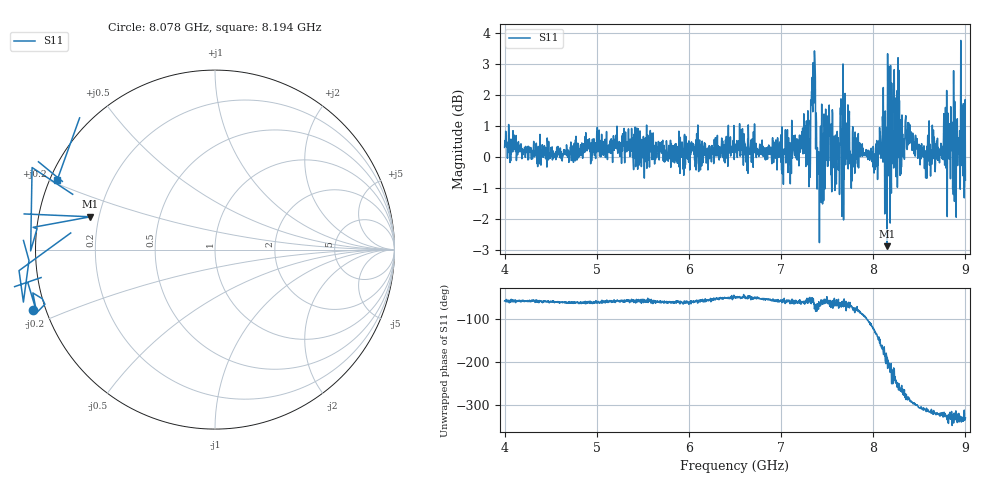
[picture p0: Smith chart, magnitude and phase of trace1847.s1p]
! Created with skrf 1.8.0 (http://scikit-rf.org).
# Hz S RI R 50.0
!freq ReS11 ImS11
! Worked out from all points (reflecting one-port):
!   1601 points, 4 GHz to 9 GHz, reference 50 ohm
!   lowest |S11| = -2.9 dB at 8.15 GHz (marker M1), VSWR 6.08, Z = 8.35 + j6.3 ohm
!   phase of S11 starts at -57 deg and turns -274 deg over the sweep
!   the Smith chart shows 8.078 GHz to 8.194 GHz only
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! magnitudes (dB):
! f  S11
! 4 GHz  0.3
! 4.625 GHz  -0.1
! 5.25 GHz  0.0
! 5.875 GHz  -0.2
! 6.5 GHz  0.3
! 7.125 GHz  0.3
! 7.241 GHz  0.2
! 7.294 GHz  -0.2
! 7.328 GHz  1.7
! 7.347 GHz  3.0
! 7.412 GHz  -0.2
! 7.509 GHz  -0.2
! 7.609 GHz  0.8
! 7.669 GHz  0.1
! 7.75 GHz  0.2
! 8.031 GHz  0.4
! 8.088 GHz  0.0
! 8.15 GHz  -2.9
! 8.178 GHz  2.4
! 8.209 GHz  -0.2
! 8.253 GHz  1.1
! 8.312 GHz  1.4
! 8.375 GHz  0.9
! 8.556 GHz  -0.4
! 8.834 GHz  1.1
! 8.919 GHz  0.4
! 8.972 GHz  0.9
! 9 GHz  -0.7
